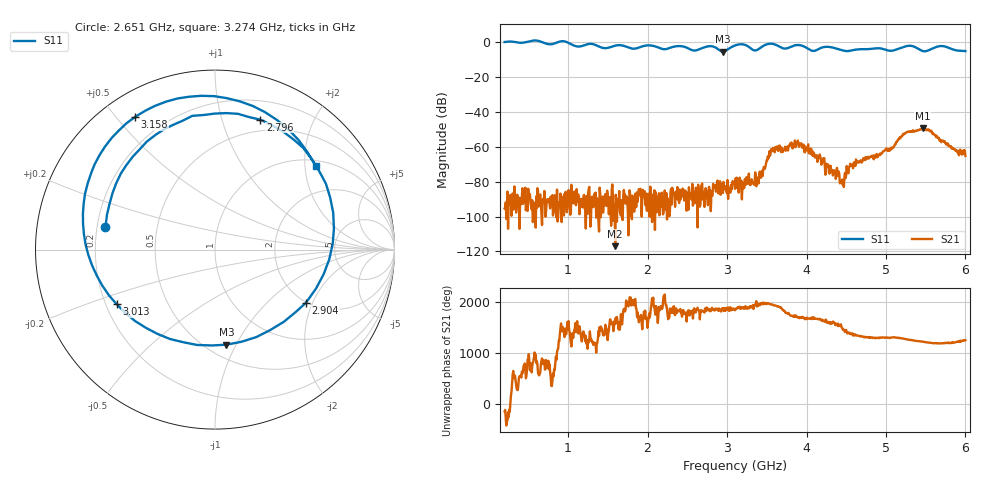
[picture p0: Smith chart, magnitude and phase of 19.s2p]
! NanoVNA-App
! Date: 2024-06-25 16:11:22
! Start: 200MHz Stop: 6GHz Points: 801
! S-Parameter data: F S11 S21 S12 S22
# Hz S RI R 50
!  Frequency  S11_Real  S11_Imag  S21_Real  S21_Imag  S12_Real  S12_Imag  S22_Real  S22_Imag
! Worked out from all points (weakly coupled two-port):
!   801 points, 200 MHz to 6 GHz, reference 50 ohm
!   highest |S21| = -49.45 dB at 5.463 GHz (marker M1); lowest = -117.0 dB at 1.592 GHz (marker M2)
!   lowest |S11| = -5.5 dB at 2.948 GHz (marker M3), VSWR 3.29, Z = 30.9 - j45.7 ohm
!   |S11| at or under -10 dB: nowhere
!   S12 and S22 are empty: the file has one direction only
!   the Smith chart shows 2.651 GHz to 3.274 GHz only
!   S11 on the Smith chart (normalised r, x): 2.651 GHz: 0.23, +0.10; 2.796 GHz: 0.38, +1.34; 2.904 GHz: 1.98, -1.79; 3.013 GHz: 0.24, -0.24; 3.158 GHz: 0.10, +0.56; 3.274 GHz: 1.15, +2.28
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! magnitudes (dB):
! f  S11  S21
! 200 MHz  0.0  -95.3
! 1.171 GHz  -2.3  -93.9
! 1.592 GHz  -2.0  -117.0
! 2.136 GHz  -3.1  -93.3
! 2.651 GHz  -4.1  -94.3
! 2.796 GHz  -2.3  -96.9
! 2.904 GHz  -4.6  -82.5
! 2.948 GHz  -5.5  -86.5
! 3.013 GHz  -4.1  -89.9
! 3.1 GHz  -1.9  -84.1
! 3.158 GHz  -1.3  -77.7
! 3.274 GHz  -2.7  -75.3
! 3.397 GHz  -4.0  -81.0
! 3.6 GHz  -1.3  -63.1
! 3.897 GHz  -1.7  -57.7
! 4.072 GHz  -5.0  -62.3
! 4.449 GHz  -4.7  -78.8
! 4.579 GHz  -4.6  -70.8
! 5.036 GHz  -4.9  -61.0
! 5.246 GHz  -2.4  -52.2
! 5.463 GHz  -5.1  -49.4
! 6 GHz  -5.1  -65.2
